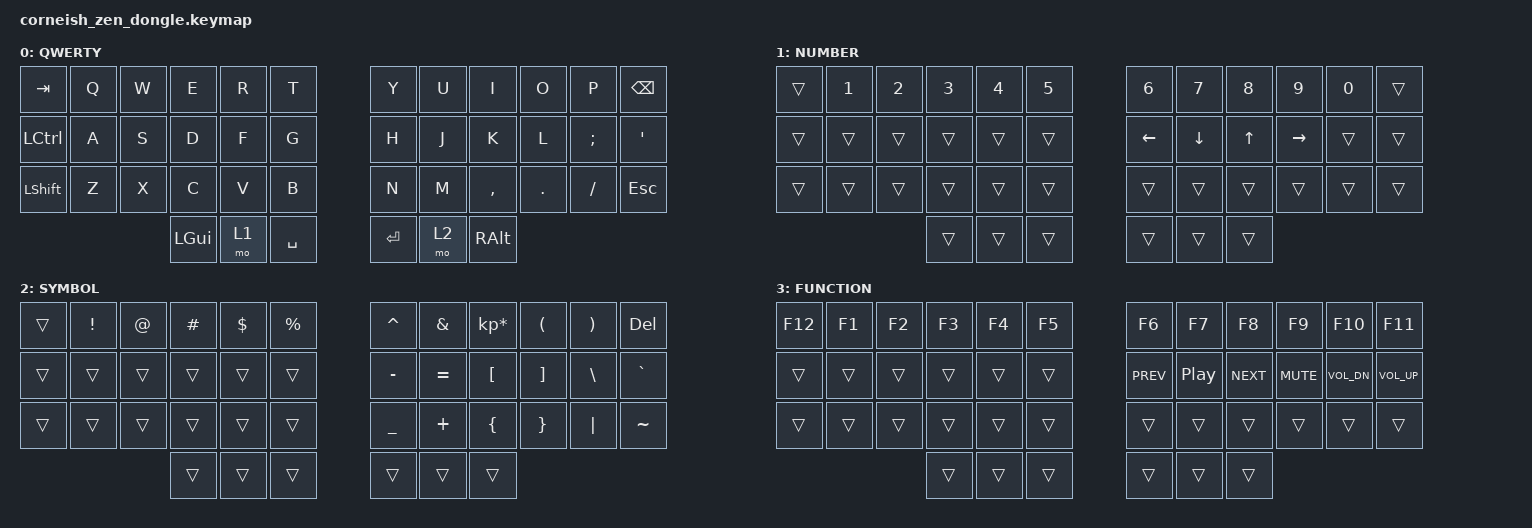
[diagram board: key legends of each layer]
#include <behaviors.dtsi>
#include <dt-bindings/zmk/keys.h>
#include <dt-bindings/zmk/bt.h>
#include <dt-bindings/zmk/outputs.h>

/ {
    chosen {
        zmk,physical-layout = &foostan_corne_6col_layout;
        // zmk,matrix_transform = &foostan_corne_5col_layout;
    };
};

/ {
    conditional_layers {
        compatible = "zmk,conditional-layers";
        tri_layer {
            if-layers = <1 2>;
            then-layer = <3>;
        };
    };

    keymap {
        compatible = "zmk,keymap";

        default_layer {
            display-name = "QWERTY";
// -----------------------------------------------------------------------------
// | TAB |  Q  |  W  |  E  |  R  |  T  |   |  Y  |  U  |  I  |  O  |  P  | BSP |
// | CTL |  A  |  S  |  D  |  F  |  G  |   |  H  |  J  |  K  |  L  |  ;  |  '  |
// | SHF |  Z  |  X  |  C  |  V  |  B  |   |  N  |  M  |  ,  |  .  |  /  | ESC |
//                   | GUI | LWR | SPC |   | ENT | RSE | ALT |
            bindings = <
&kp TAB   &kp Q &kp W &kp E     &kp R &kp T       &kp Y   &kp U &kp I     &kp O   &kp P    &kp BSPC
&kp LCTRL &kp A &kp S &kp D     &kp F &kp G       &kp H   &kp J &kp K     &kp L   &kp SEMI &kp SQT
&kp LSHFT &kp Z &kp X &kp C     &kp V &kp B       &kp N   &kp M &kp COMMA &kp DOT &kp FSLH &kp ESC
                      &kp LGUI  &mo 1 &kp SPACE   &kp RET &mo 2 &kp RALT
            >;
        };

        lower_layer {
            display-name = "NUMBER";
// -----------------------------------------------------------------------------
// |     |  1  |  2  |  3  |  4  |  5  |   |  6  |  7  |  8  |  9  |  0  |     |
// |     |     |     |     |     |     |   | LFT | DWN |  UP | RGT |     |     |
// |     |     |     |     |     |     |   |     |     |     |     |     |     |
//                   |     |     |     |   |     | ADJ |     |
            bindings = <
&trans &kp N1 &kp N2 &kp N3 &kp N4 &kp N5      &kp N6   &kp N7   &kp N8 &kp N9    &kp N0 &trans
&trans &trans &trans &trans &trans &trans      &kp LEFT &kp DOWN &kp UP &kp RIGHT &trans &trans
&trans &trans &trans &trans &trans &trans      &trans   &trans   &trans &trans    &trans &trans
                     &trans &trans &trans      &trans   &trans   &trans
            >;
        };

        raise_layer {
            display-name = "SYMBOL";
// -----------------------------------------------------------------------------
// |     |  !  |  @  |  #  |  $  |  %  |   |  ^  |  &  |  *  |  (  |  )  | DEL |
// |     |     |     |     |     |     |   |  -  |  =  |  {  |  }  |  \  |  `  |
// |     |     |     |     |     |     |   |  _  |  +  |  [  |  ]  |  |  |  ~  |
//                   |     | ADJ |     |   |     |     |     |
            bindings = <
&trans &kp EXCL &kp AT &kp HASH &kp DLLR &kp PRCNT   &kp CARET &kp AMPS  &kp KP_MULTIPLY &kp LPAR &kp RPAR &kp DEL
&trans &trans   &trans &trans   &trans   &trans      &kp MINUS &kp EQUAL &kp LBKT        &kp RBKT &kp BSLH &kp GRAVE
&trans &trans   &trans &trans   &trans   &trans      &kp UNDER &kp PLUS  &kp LBRC        &kp RBRC &kp PIPE &kp TILDE
                       &trans   &trans   &trans      &trans &trans &trans
            >;
        };

        adjust_layer {
            display-name = "FUNCTION";
// -----------------------------------------------------------------------------
// | F12 |  F1 |  F2 |  F3 |  F4 |  F5 |   |  F6 |  F7 |  F8 |  F9 | F10 | F11 |
// |     |     |     |     |     |     |   | PRV |  PP | NXT | MUT | VDN | VUP |
// |     |     |     |     |     |     |   |     |     |     |     |     |     |   
//                   | GUI |     | SPC |   | ENT |     | ALT |
            bindings = <
&kp F12 &kp F1 &kp F2 &kp F3 &kp F4 &kp F5   &kp F6     &kp F7   &kp F8     &kp F9     &kp F10      &kp F11
&trans  &trans &trans &trans &trans &trans   &kp C_PREV &kp C_PP &kp C_NEXT &kp C_MUTE &kp C_VOL_DN &kp C_VOL_UP
&trans  &trans &trans &trans &trans &trans   &trans     &trans   &trans     &trans     &trans       &trans      
                      &trans &trans &trans   &trans     &trans   &trans
            >;
        };
    };
};
